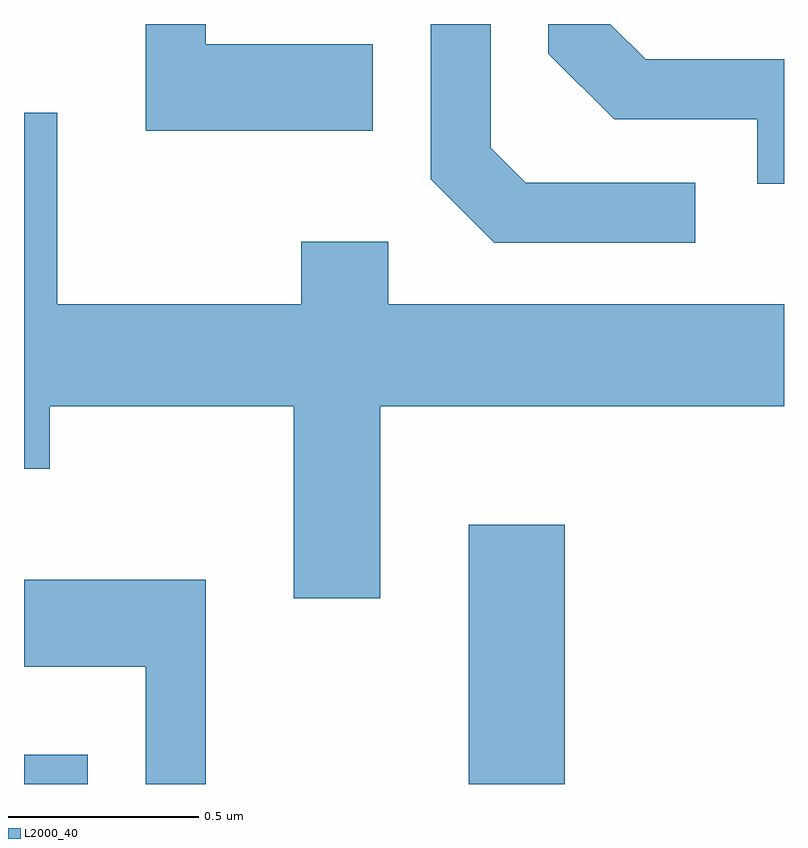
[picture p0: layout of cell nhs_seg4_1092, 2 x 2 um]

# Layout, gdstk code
import gdstk
lib = gdstk.Library(unit=1e-6, precision=1e-09)
def R(c, l, rs):  # rectangles x0, y0, x1, y1
    for r in rs: c.add(gdstk.rectangle(r[:2], r[2:], *l))
def P(c, l, *ps):  # polygons
    for p in ps: c.add(gdstk.Polygon(p, *l))
L2000_40 = (2000, 40)

nhs_seg4_1092 = lib.new_cell('nhs_seg4_1092')
R(nhs_seg4_1092, L2000_40, [(192.611,1386.982,192.779,1387.059), (193.781,1386.982,194.034,1387.664)])
P(nhs_seg4_1092, L2000_40, [(193.529,1388.929),(193.089,1388.929),(193.089,1388.982),(192.931,1388.982),(192.931,1388.701),(193.529,1388.701)],
  [(194.378,1388.564),(193.932,1388.564),(193.839,1388.657),(193.839,1388.982),(193.681,1388.982),(193.681,1388.574),(193.849,1388.406),(194.378,1388.406)],
  [(194.611,1388.889),(194.247,1388.889),(194.154,1388.982),(193.991,1388.982),(193.991,1388.904),(194.164,1388.731),(194.541,1388.731),(194.541,1388.561),(194.611,1388.561)],
  [(193.549,1387.976),(194.611,1387.976),(194.611,1388.244),(193.569,1388.244),(193.569,1388.409),(193.341,1388.409),(193.341,1388.244),(192.699,1388.244),(192.699,1388.749),(192.611,1388.749),(192.611,1387.811),(192.679,1387.811),(192.679,1387.976),(193.321,1387.976),(193.321,1387.471),(193.549,1387.471)],
  [(193.089,1387.519),(192.611,1387.519),(192.611,1387.291),(192.931,1387.291),(192.931,1386.982),(193.089,1386.982)])

lib.write_gds('nhs_seg4_1092.gds')
